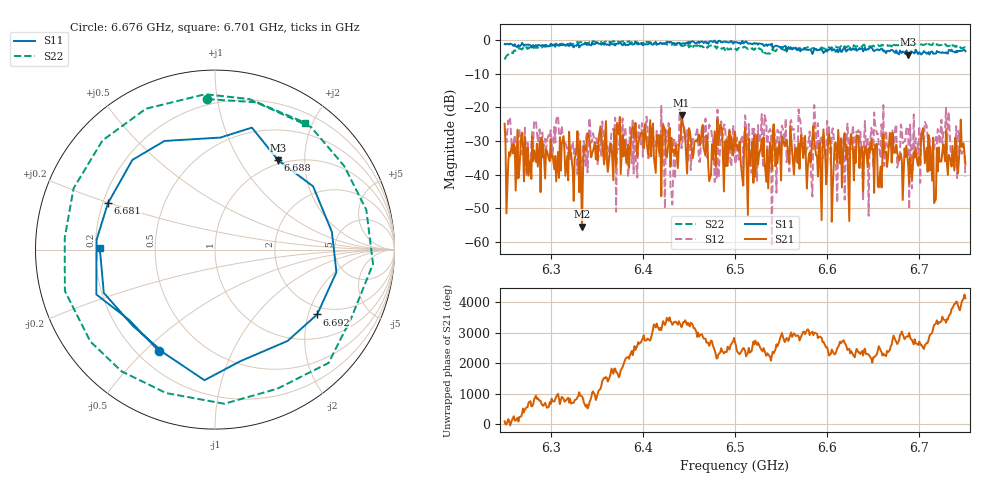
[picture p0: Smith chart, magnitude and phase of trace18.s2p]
# Hz S RI R 50
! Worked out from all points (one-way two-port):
!   401 points, 6.25 GHz to 6.75 GHz, reference 50 ohm
!   highest |S21| = -22.21 dB at 6.442 GHz (marker M1); lowest = -55.5 dB at 6.334 GHz (marker M2)
!   lowest |S11| = -4.3 dB at 6.688 GHz (marker M3), VSWR 4.13, Z = 47 + j74.5 ohm
!   |S11| at or under -10 dB: nowhere
!   |S22| runs from -5.7 to -0.1 dB; largest |S21 - S12| = 0.14
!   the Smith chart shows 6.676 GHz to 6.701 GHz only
!   S11 on the Smith chart (normalised r, x): 6.676 GHz: 0.29, -0.56; 6.681 GHz: 0.22, +0.20; 6.688 GHz: 0.94, +1.49; 6.692 GHz: 1.73, -2.29; 6.701 GHz: 0.22, +0.01
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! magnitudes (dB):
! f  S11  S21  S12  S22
! 6.25 GHz  -1.1  -24.9  -26.2  -5.7
! 6.334 GHz  -1.3  -55.5  -44.9  -0.6
! 6.34 GHz  -1.4  -27.7  -39.3  -0.7
! 6.418 GHz  -1.1  -33.9  -34.6  -1.0
! 6.432 GHz  -0.8  -33.3  -48.9  -1.2
! 6.442 GHz  -1.0  -22.2  -32.2  -1.6
! 6.474 GHz  -0.2  -39.9  -26.1  -1.5
! 6.484 GHz  -0.2  -25.1  -31.6  -1.9
! 6.5 GHz  -0.6  -27.2  -36.1  -2.5
! 6.535 GHz  -1.7  -32.5  -34.0  -3.9
! 6.542 GHz  -1.9  -25.0  -25.1  -3.0
! 6.552 GHz  -2.0  -29.8  -26.5  -2.7
! 6.584 GHz  -4.0  -28.8  -46.5  -2.4
! 6.658 GHz  -2.7  -37.6  -35.1  -1.7
! 6.668 GHz  -3.3  -27.5  -31.2  -1.5
! 6.676 GHz  -3.8  -33.4  -37.9  -1.5
! 6.681 GHz  -3.7  -35.8  -26.4  -1.2
! 6.688 GHz  -4.3  -37.4  -25.8  -1.3
! 6.692 GHz  -3.4  -41.4  -44.1  -1.2
! 6.701 GHz  -3.9  -36.7  -42.4  -1.2
! 6.73 GHz  -3.9  -36.9  -32.6  -1.7
! 6.75 GHz  -3.3  -37.1  -40.6  -2.0
